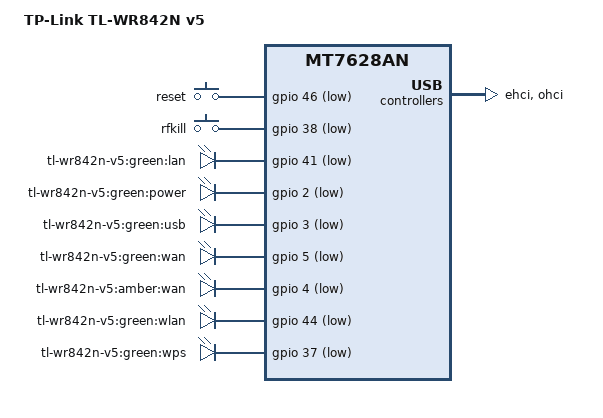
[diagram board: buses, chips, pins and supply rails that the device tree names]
/dts-v1/;

#include "mt7628an_tplink_8m.dtsi"

/ {
	compatible = "tplink,tl-wr842n-v5", "mediatek,mt7628an-soc";
	model = "TP-Link TL-WR842N v5";

	aliases {
		led-boot = &led_power;
		led-failsafe = &led_power;
		led-running = &led_power;
		led-upgrade = &led_power;
	};

	keys {
		compatible = "gpio-keys";

		reset {
			label = "reset";
			gpios = <&gpio 46 GPIO_ACTIVE_LOW>;
			linux,code = <KEY_RESTART>;
		};

		rfkill {
			label = "rfkill";
			gpios = <&gpio 38 GPIO_ACTIVE_LOW>;
			linux,code = <KEY_RFKILL>;
		};
	};

	leds {
		compatible = "gpio-leds";

		lan {
			label = "tl-wr842n-v5:green:lan";
			gpios = <&gpio 41 GPIO_ACTIVE_LOW>;
		};

		led_power: power {
			label = "tl-wr842n-v5:green:power";
			gpios = <&gpio 2 GPIO_ACTIVE_LOW>;
		};

		usb {
			label = "tl-wr842n-v5:green:usb";
			gpios = <&gpio 3 GPIO_ACTIVE_LOW>;
			trigger-sources = <&ohci_port1>, <&ehci_port1>;
			linux,default-trigger = "usbport";
		};

		wan {
			label = "tl-wr842n-v5:green:wan";
			gpios = <&gpio 5 GPIO_ACTIVE_LOW>;
		};

		wan_amber {
			label = "tl-wr842n-v5:amber:wan";
			gpios = <&gpio 4 GPIO_ACTIVE_LOW>;
		};

		wlan {
			label = "tl-wr842n-v5:green:wlan";
			gpios = <&gpio 44 GPIO_ACTIVE_LOW>;
		};

		wps {
			label = "tl-wr842n-v5:green:wps";
			gpios = <&gpio 37 GPIO_ACTIVE_LOW>;
		};
	};
};

&ehci {
	status = "okay";
};

&ohci {
	status = "okay";
};

&state_default {
	gpio {
		groups = "i2c", "i2s", "p2led_an", "refclk", "uart1", "wdt", "wled_an";
		function = "gpio";
	};
};

&esw {
	mediatek,portmap = <0x3e>;
};
